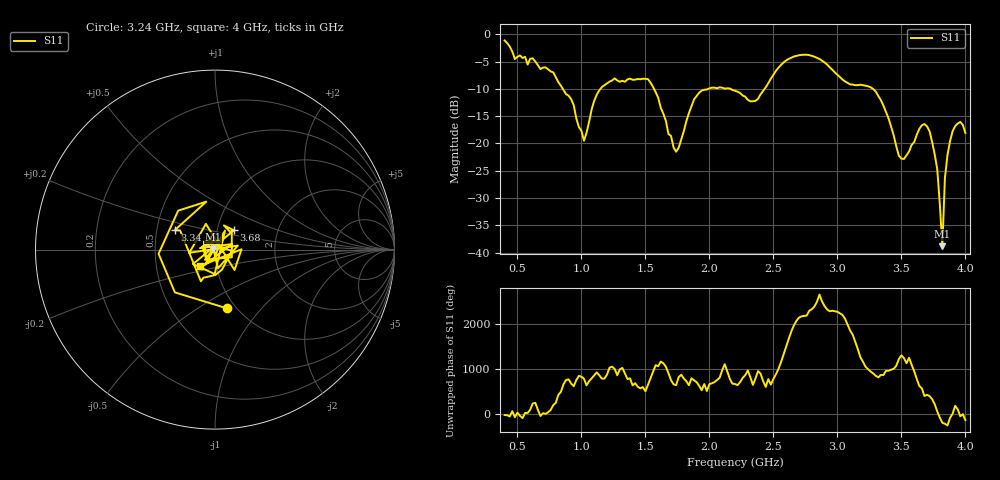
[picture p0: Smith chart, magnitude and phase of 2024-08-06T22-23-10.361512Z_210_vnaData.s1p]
!Created with skrf (http://scikit-rf.org).
# Hz S RI R 50.0
!freq ReS11 ImS11
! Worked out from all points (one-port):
!   181 points, 400 MHz to 4 GHz, reference 50 ohm
!   lowest |S11| = -38.8 dB at 3.82 GHz (marker M1), VSWR 1.02, Z = 48.9 + j0.198 ohm
!   |S11| at or under -10 dB: 854.8 MHz to 1.149 GHz (293.7 MHz wide, 29.3 % of centre); 1.567 GHz to 1.991 GHz (423.9 MHz wide, 23.8 % of centre); 3.278 GHz to end of sweep (the widest 3 of 4)
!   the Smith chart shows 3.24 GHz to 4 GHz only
!   S11 on the Smith chart (normalised r, x): 3.24 GHz: 0.91, -0.67; 3.34 GHz: 0.62, +0.14; 3.68 GHz: 1.20, +0.27; 4 GHz: 0.83, -0.16
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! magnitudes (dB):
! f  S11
! 400 MHz  -1.1
! 480 MHz  -4.5
! 860 MHz  -10.2
! 940 MHz  -13.0
! 1.02 GHz  -19.5
! 1.14 GHz  -10.3
! 1.3 GHz  -8.7
! 1.52 GHz  -8.2
! 1.72 GHz  -20.7
! 1.76 GHz  -20.8
! 1.92 GHz  -10.7
! 2.2 GHz  -10.3
! 2.36 GHz  -12.2
! 2.66 GHz  -4.1
! 2.86 GHz  -4.5
! 3.1 GHz  -9.2
! 3.24 GHz  -9.5
! 3.34 GHz  -12.1
! 3.48 GHz  -22.2
! 3.56 GHz  -21.5
! 3.68 GHz  -16.4
! 3.72 GHz  -17.8
! 3.78 GHz  -24.7
! 3.82 GHz  -38.8
! 3.84 GHz  -26.3
! 3.88 GHz  -19.6
! 3.96 GHz  -16.1
! 4 GHz  -18.1
